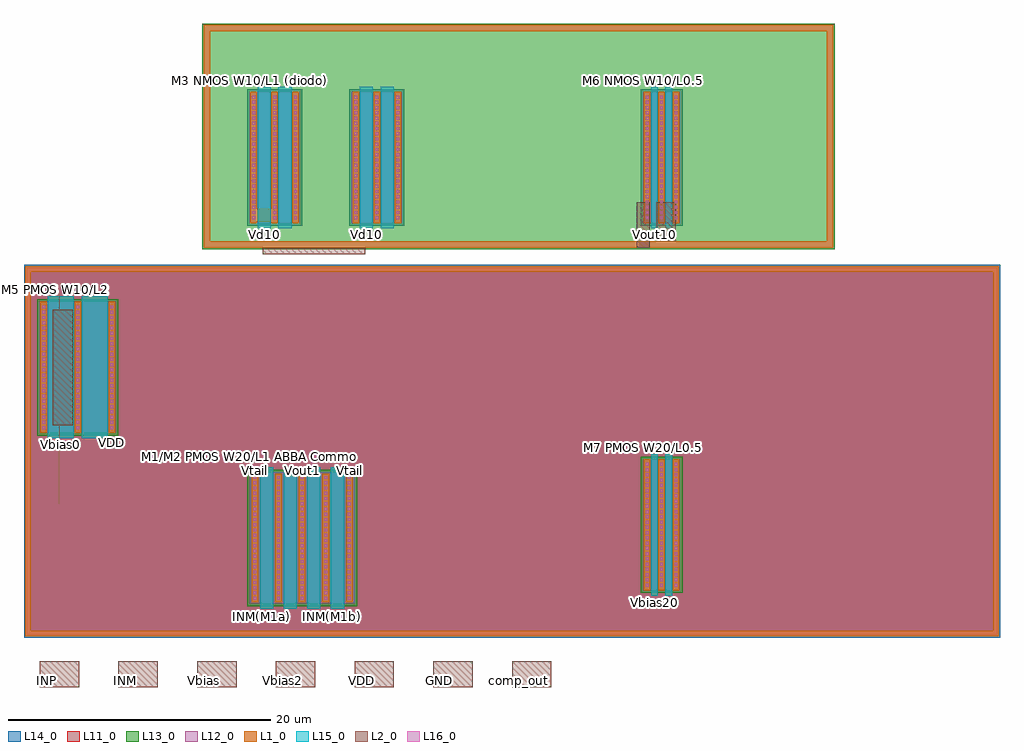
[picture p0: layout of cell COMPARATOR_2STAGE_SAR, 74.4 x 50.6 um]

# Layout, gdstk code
import gdstk
lib = gdstk.Library(unit=1e-6, precision=1e-09)
def R(c, l, rs):  # rectangles x0, y0, x1, y1
    for r in rs: c.add(gdstk.rectangle(r[:2], r[2:], *l))
def A(c, l, x, y, w, h, nx, ny, dx, dy):  # array of equal rectangles
    R(c, l, [(x+i*dx, y+j*dy, x+i*dx+w, y+j*dy+h) for i in range(nx) for j in range(ny)])
def P(c, l, *ps):  # polygons
    for p in ps: c.add(gdstk.Polygon(p, *l))
L1_0 = (1, 0)
L2_0 = (2, 0)
L11_0 = (11, 0)
L12_0 = (12, 0)
L13_0 = (13, 0)
L14_0 = (14, 0)
L15_0 = (15, 0)
L16_0 = (16, 0)

comparator_2stage_sar = lib.new_cell('COMPARATOR_2STAGE_SAR')
A(comparator_2stage_sar, L1_0, 18.15, 3.5, 0.5, 9.8, 5, 1, 1.8, 0)
A(comparator_2stage_sar, L1_0, 48.05, 4.4, 0.5, 10, 3, 2, 1.1, 28)
A(comparator_2stage_sar, L1_0, 2.05, 16.4, 0.5, 10, 3, 1, 2.6, 0)
A(comparator_2stage_sar, L1_0, 18.05, 32.4, 0.5, 10, 3, 1, 1.6, 0)
A(comparator_2stage_sar, L1_0, 25.85, 32.4, 0.5, 10, 3, 1, 1.6, 0)
R(comparator_2stage_sar, L1_0, [(0.9,0.9,75.1,1.3), (0.9,1.3,1.3,28.7), (74.7,1.3,75.1,28.7), (0.9,28.7,75.1,29.1), (14.5,30.5,62.5,31), (14.5,31,15,47), (62,31,62.5,47), (18.5,32.5,20,33.5), (14.5,47,62.5,47.5)])
A(comparator_2stage_sar, L2_0, 2, -3, 3, 2, 7, 1, 6, 0)
R(comparator_2stage_sar, L2_0, [(3,17,4.5,25.8), (19,30,26.8,30.5), (47.5,30.5,48.5,34), (49,31,50.5,34)])
P(comparator_2stage_sar, L2_0, [(3.5,11),(3.5,27),(3.5,27),(3.5,11)],
  [(20,37),(20,37),(26.3,37),(26.3,37)])
R(comparator_2stage_sar, L11_0, [(1,1,75,29)])
R(comparator_2stage_sar, L12_0, [(0.9,0.9,75.1,1.3), (0.9,1.3,1.3,28.7), (74.7,1.3,75.1,28.7), (18,3.4,26,13.4), (48,4.4,50.8,14.4), (2,16.4,7.8,26.4), (0.9,28.7,75.1,29.1), (14.5,30.5,62.5,31), (14.5,31,15,47), (62,31,62.5,47), (18,32.4,21.8,42.4), (25.8,32.4,29.6,42.4), (48,32.4,50.8,42.4), (14.5,47,62.5,47.5)])
R(comparator_2stage_sar, L13_0, [(17.8,3.2,26.2,13.6), (47.8,4.2,51,14.6), (1.8,16.2,8,26.6), (14.4,30.4,62.6,47.6)])
R(comparator_2stage_sar, L14_0, [(0.8,0.8,75.2,29.2), (17.8,32.2,22,42.6), (25.6,32.2,29.8,42.6), (47.8,32.2,51,42.6)])
A(comparator_2stage_sar, L15_0, 18.8, 3, 1, 10.8, 4, 1, 1.8, 0)
R(comparator_2stage_sar, L15_0, [(48.6,4,49.1,14.8), (49.7,4,50.2,14.8), (2.6,16,4.6,26.8), (5.2,16,7.2,26.8), (18.6,32,19.6,42.8), (20.2,32,21.2,42.8), (26.4,32,27.4,42.8), (28,32,29,42.8), (48.6,32,49.1,42.8), (49.7,32,50.2,42.8)])
A(comparator_2stage_sar, L16_0, 18.29, 3.69, 0.22, 0.22, 5, 24, 1.8, 0.4)
A(comparator_2stage_sar, L16_0, 48.19, 4.69, 0.22, 0.22, 3, 24, 1.1, 0.4)
A(comparator_2stage_sar, L16_0, 2.19, 16.69, 0.22, 0.22, 3, 24, 2.6, 0.4)
A(comparator_2stage_sar, L16_0, 18.19, 32.69, 0.22, 0.22, 3, 24, 1.6, 0.4)
A(comparator_2stage_sar, L16_0, 25.99, 32.69, 0.22, 0.22, 3, 24, 1.6, 0.4)
A(comparator_2stage_sar, L16_0, 48.19, 32.69, 0.22, 0.22, 3, 24, 1.1, 0.4)
comparator_2stage_sar.add(gdstk.Label('Vbias0', (3.6,15.5), layer=15, texttype=0))
comparator_2stage_sar.add(gdstk.Label('Vbias1', (6.2,15.5), layer=15, texttype=0))
comparator_2stage_sar.add(gdstk.Label('INM(M1a)', (18.9,2.4), layer=15, texttype=0))
comparator_2stage_sar.add(gdstk.Label('INP(M2a)', (20.7,2.4), layer=15, texttype=0))
comparator_2stage_sar.add(gdstk.Label('INP(M2b)', (22.5,2.4), layer=15, texttype=0))
comparator_2stage_sar.add(gdstk.Label('INM(M1b)', (24.3,2.4), layer=15, texttype=0))
comparator_2stage_sar.add(gdstk.Label('Vbias20', (48.85,3.5), layer=15, texttype=0))
comparator_2stage_sar.add(gdstk.Label('Vbias21', (49.95,3.5), layer=15, texttype=0))
comparator_2stage_sar.add(gdstk.Label('Vd10', (19.1,31.5), layer=15, texttype=0))
comparator_2stage_sar.add(gdstk.Label('Vd11', (20.7,31.5), layer=15, texttype=0))
comparator_2stage_sar.add(gdstk.Label('Vd10', (26.9,31.5), layer=15, texttype=0))
comparator_2stage_sar.add(gdstk.Label('Vd11', (28.5,31.5), layer=15, texttype=0))
comparator_2stage_sar.add(gdstk.Label('Vout10', (48.85,31.5), layer=15, texttype=0))
comparator_2stage_sar.add(gdstk.Label('Vout11', (49.95,31.5), layer=15, texttype=0))
comparator_2stage_sar.add(gdstk.Label('VDD', (2.3,15.7), layer=1, texttype=0))
comparator_2stage_sar.add(gdstk.Label('Vtail', (4.9,15.7), layer=1, texttype=0))
comparator_2stage_sar.add(gdstk.Label('VDD', (7.5,15.7), layer=1, texttype=0))
comparator_2stage_sar.add(gdstk.Label('Vtail', (18.4,13.5), layer=1, texttype=0))
comparator_2stage_sar.add(gdstk.Label('Vd1', (20.2,13.5), layer=1, texttype=0))
comparator_2stage_sar.add(gdstk.Label('Vout1', (22,13.5), layer=1, texttype=0))
comparator_2stage_sar.add(gdstk.Label('Vd1', (23.8,13.5), layer=1, texttype=0))
comparator_2stage_sar.add(gdstk.Label('Vtail', (25.6,13.5), layer=1, texttype=0))
comparator_2stage_sar.add(gdstk.Label('VDD', (48.3,3.7), layer=1, texttype=0))
comparator_2stage_sar.add(gdstk.Label('Vout', (49.4,3.7), layer=1, texttype=0))
comparator_2stage_sar.add(gdstk.Label('VDD', (50.5,3.7), layer=1, texttype=0))
comparator_2stage_sar.add(gdstk.Label('GND', (18.3,31.7), layer=1, texttype=0))
comparator_2stage_sar.add(gdstk.Label('Vd1', (19.9,31.7), layer=1, texttype=0))
comparator_2stage_sar.add(gdstk.Label('GND', (21.5,31.7), layer=1, texttype=0))
comparator_2stage_sar.add(gdstk.Label('G=D', (18.5,31.5), layer=1, texttype=0))
comparator_2stage_sar.add(gdstk.Label('GND', (26.1,31.7), layer=1, texttype=0))
comparator_2stage_sar.add(gdstk.Label('Vout1', (27.7,31.7), layer=1, texttype=0))
comparator_2stage_sar.add(gdstk.Label('GND', (29.3,31.7), layer=1, texttype=0))
comparator_2stage_sar.add(gdstk.Label('GND', (48.3,31.7), layer=1, texttype=0))
comparator_2stage_sar.add(gdstk.Label('Vout', (49.4,31.7), layer=1, texttype=0))
comparator_2stage_sar.add(gdstk.Label('GND', (50.5,31.7), layer=1, texttype=0))
comparator_2stage_sar.add(gdstk.Label('M5 PMOS W10/L2', (2,27.3), layer=2, texttype=0))
comparator_2stage_sar.add(gdstk.Label('M1/M2 PMOS W20/L1 ABBA Common-Centroid', (18,14.6), layer=2, texttype=0))
comparator_2stage_sar.add(gdstk.Label('M7 PMOS W20/L0.5', (48,15.3), layer=2, texttype=0))
comparator_2stage_sar.add(gdstk.Label('M3 NMOS W10/L1 (diodo)', (18,43.3), layer=2, texttype=0))
comparator_2stage_sar.add(gdstk.Label('M4 NMOS W10/L1 (espelho)', (25.8,43.3), layer=2, texttype=0))
comparator_2stage_sar.add(gdstk.Label('M6 NMOS W10/L0.5', (48,43.3), layer=2, texttype=0))
comparator_2stage_sar.add(gdstk.Label('INP', (2.5,-2.5), layer=2, texttype=0))
comparator_2stage_sar.add(gdstk.Label('INM', (8.5,-2.5), layer=2, texttype=0))
comparator_2stage_sar.add(gdstk.Label('Vbias', (14.5,-2.5), layer=2, texttype=0))
comparator_2stage_sar.add(gdstk.Label('Vbias2', (20.5,-2.5), layer=2, texttype=0))
comparator_2stage_sar.add(gdstk.Label('VDD', (26.5,-2.5), layer=2, texttype=0))
comparator_2stage_sar.add(gdstk.Label('GND', (32.5,-2.5), layer=2, texttype=0))
comparator_2stage_sar.add(gdstk.Label('comp_out', (38.5,-2.5), layer=2, texttype=0))
comparator_2stage_sar.add(gdstk.Label('COMPARATOR 2-STAGE | SAR ADC | CMOS 180nm | Aqua Monitor', (1,-5), layer=2, texttype=0))
comparator_2stage_sar.add(gdstk.Label('W_M1=W_M2=20um L=1um | W_M5=10um L=2um | Common-Centroid ABBA', (1,-6.5), layer=2, texttype=0))

lib.write_gds('COMPARATOR_2STAGE_SAR.gds')
